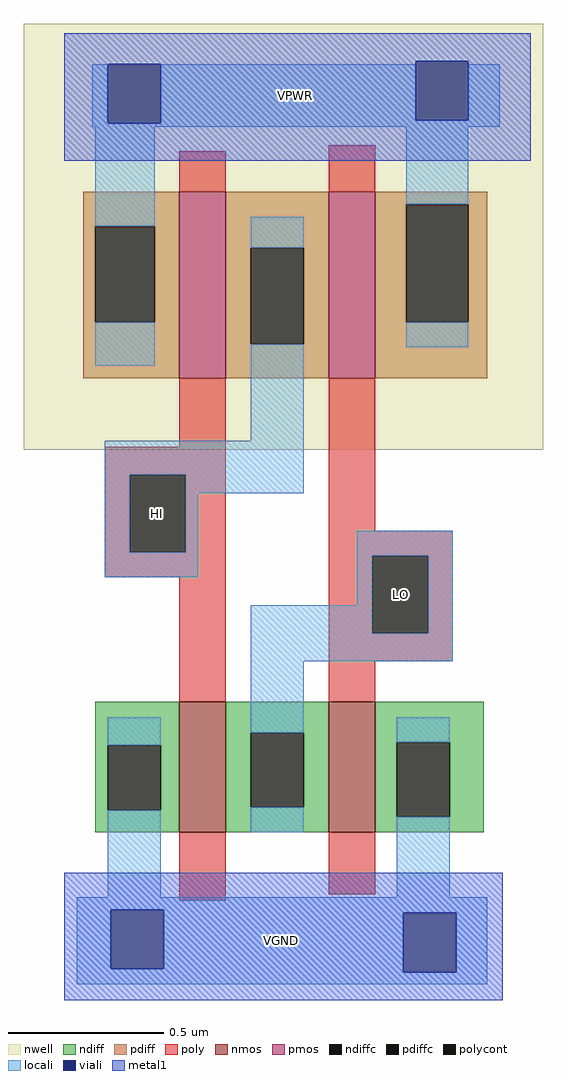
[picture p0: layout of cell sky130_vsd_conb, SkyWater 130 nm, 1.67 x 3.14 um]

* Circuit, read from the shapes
.subckt sky130_vsd_conb HI LO VGND VPWR
XM1 LO HI VGND VSUBS sky130_fd_pr__nfet_01v8 w=0.42 l=0.15
XM2 VGND LO LO VSUBS sky130_fd_pr__nfet_01v8 w=0.42 l=0.15
XM3 HI HI VPWR n1 sky130_fd_pr__pfet_01v8 w=0.6 l=0.15
XM4 VPWR LO HI n1 sky130_fd_pr__pfet_01v8 w=0.6 l=0.15
.ends

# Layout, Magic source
magic
tech sky130A
<< nwell >>
rect -13 156 154 293
<< nmos >>
rect 37 33 52 75
rect 85 33 100 75
<< pmos >>
rect 37 179 52 239
rect 85 179 100 239
<< ndiff >>
rect 10 61 37 75
rect 10 40 14 61
rect 31 40 37 61
rect 10 33 37 40
rect 52 65 85 75
rect 52 41 60 65
rect 77 41 85 65
rect 52 33 85 41
rect 100 62 135 75
rect 100 38 107 62
rect 124 38 135 62
rect 100 33 135 38
<< pdiff >>
rect 6 228 37 239
rect 6 197 10 228
rect 29 197 37 228
rect 6 179 37 197
rect 52 221 85 239
rect 52 190 60 221
rect 77 190 85 221
rect 52 179 85 190
rect 100 235 136 239
rect 100 197 110 235
rect 130 197 136 235
rect 100 179 136 197
<< ndiffc >>
rect 14 40 31 61
rect 60 41 77 65
rect 107 38 124 62
<< pdiffc >>
rect 10 197 29 228
rect 60 190 77 221
rect 110 197 130 235
<< poly >>
rect 37 239 52 252
rect 85 239 100 254
rect 37 157 52 179
rect 13 148 52 157
rect 13 123 21 148
rect 39 123 52 148
rect 13 115 52 123
rect 37 75 52 115
rect 85 130 100 179
rect 85 122 125 130
rect 85 97 99 122
rect 117 97 125 122
rect 85 88 125 97
rect 85 75 100 88
rect 37 11 52 33
rect 85 13 100 33
<< polycont >>
rect 21 123 39 148
rect 99 97 117 122
<< locali >>
rect 9 261 14 280
rect 31 262 113 280
rect 130 262 140 280
rect 31 261 140 262
rect 9 260 140 261
rect 10 228 29 260
rect 110 235 130 260
rect 10 183 29 197
rect 60 221 77 231
rect 60 159 77 190
rect 110 189 130 197
rect 13 148 77 159
rect 13 123 21 148
rect 39 142 77 148
rect 39 123 43 142
rect 13 115 43 123
rect 94 122 125 130
rect 94 106 99 122
rect 60 97 99 106
rect 117 97 125 122
rect 60 88 125 97
rect 14 61 31 70
rect 14 12 31 40
rect 60 65 77 88
rect 60 33 77 41
rect 107 62 124 70
rect 107 12 124 38
rect 4 8 136 12
rect 4 -11 15 8
rect 32 7 136 8
rect 32 -11 109 7
rect 4 -12 109 -11
rect 126 -12 136 7
rect 4 -16 136 -12
<< viali >>
rect 14 261 31 280
rect 113 262 130 281
rect 15 -11 32 8
rect 109 -12 126 7
<< metal1 >>
rect 0 281 150 290
rect 0 280 113 281
rect 0 261 14 280
rect 31 262 113 280
rect 130 262 150 281
rect 31 261 150 262
rect 0 249 150 261
rect 0 8 141 20
rect 0 -11 15 8
rect 32 7 141 8
rect 32 -11 109 7
rect 0 -12 109 -11
rect 126 -12 141 7
rect 0 -21 141 -12
<< labels >>
flabel polycont 21 123 39 148 0 FreeSans 120 0 0 0 HI
port 0 nsew signal input
flabel polycont 99 97 117 122 0 FreeSans 120 0 0 0 LO
port 1 nsew signal output
flabel locali 4 -16 136 12 0 FreeSans 120 0 0 0 VGND
port 2 nsew ground bidirectional
flabel locali 9 260 140 280 0 FreeSans 120 0 0 0 VPWR
port 3 nsew power bidirectional
<< properties >>
string FIXED_BBOX 0 0 200 272
<< end >>
